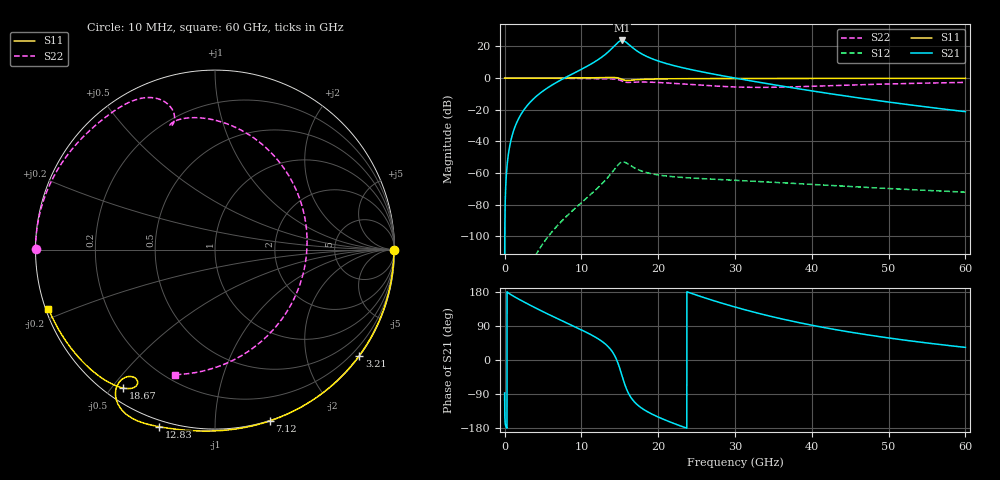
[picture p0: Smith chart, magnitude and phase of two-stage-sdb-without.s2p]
! Touchstone Ver. 1.0
! Fri May  5 20:33:45 2023
! Number of ports is 2
# Hz	S	DB	R	50.000000
! SCATTERING PARAMETERS  :
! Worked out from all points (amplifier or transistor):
!   6000 points, 10 MHz to 60 GHz, reference 50 ohm
!   highest |S21| = 23.8 dB at 15.3 GHz (marker M1)
!   |S21| within 3 dB of that: 14.39 GHz to 16.29 GHz (1.9 GHz wide, 12.4 % of centre)
!   unconditionally stable (mu >= 1): start of sweep to 5.415 GHz; 14.94 GHz to end of sweep
!   at 10.01 GHz: K = -3.70, MSG = 42.1 dB, |S12| = -78.7 dB
!   at 30.01 GHz: K = 36.97, MAG = 13.6 dB, |S12| = -64.6 dB
!   at 60 GHz: K = 315.04, MAG = -2.6 dB, |S12| = -72.1 dB
!   S11 on the Smith chart (normalised r, x): 10 MHz: open; 3.21 GHz: 0.01, -3.05; 7.12 GHz: -0.00, -1.37; 12.83 GHz: -0.03, -0.73; 18.67 GHz: 0.05, -0.54; 60 GHz: 0.01, -0.17
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1e7  -0.01 -0.2  -122.44 -86.9  -331.61 120.2  -0.00 180.0
9.8e8  -0.03 -11.4  -36.48 170.6  -161.22 -7.2  -0.00 176.6
3.21e9  -0.02 -36.3  -15.91 146.0  -120.03 -28.8  -0.03 168.7
7.12e9  0.02 -72.2  -1.75 107.0  -92.00 -61.7  -0.13 154.2
1.001e10  0.10 -91.9  5.56 79.5  -78.72 -84.7  -0.27 142.2
1.283e10  0.30 -107.6  13.87 47.0  -66.05 -112.9  -0.39 127.9
1.375e10  0.39 -113.4  17.66 29.4  -61.04 -129.0  -0.43 121.4
1.429e10  0.37 -117.8  20.28 13.3  -57.74 -144.3  -0.54 116.4
1.488e10  -0.05 -123.7  22.98 -14.7  -54.32 -171.4  -1.06 109.7
1.53e10  -0.80 -125.8  23.78 -41.7  -53.02 162.2  -1.90 106.8
1.554e10  -1.22 -125.0  23.52 -57.4  -53.01 146.9  -2.36 107.2
1.578e10  -1.45 -123.3  22.84 -71.3  -53.42 133.3  -2.63 108.4
1.613e10  -1.46 -121.1  21.46 -87.6  -54.41 117.6  -2.72 109.8
1.651e10  -1.31 -120.1  19.87 -100.5  -55.59 105.3  -2.65 110.0
1.746e10  -0.93 -120.8  16.46 -121.0  -57.99 86.2  -2.49 106.6
1.867e10  -0.67 -123.5  13.33 -137.2  -59.93 71.9  -2.54 100.0
2.001e10  -0.53 -126.7  10.80 -150.5  -61.22 60.6  -2.78 91.6
2.391e10  -0.36 -134.3  5.76 178.8  -63.03 35.8  -3.92 64.2
3.001e10  -0.27 -142.8  0.02 139.8  -64.57 5.7  -5.61 14.6
4.001e10  -0.20 -151.4  -8.09 91.8  -67.19 -28.2  -5.18 -53.6
5.001e10  -0.16 -156.8  -15.14 58.2  -69.79 -48.6  -3.70 -88.7
6e10  -0.13 -160.5  -21.21 33.3  -72.07 -61.3  -2.72 -107.7
